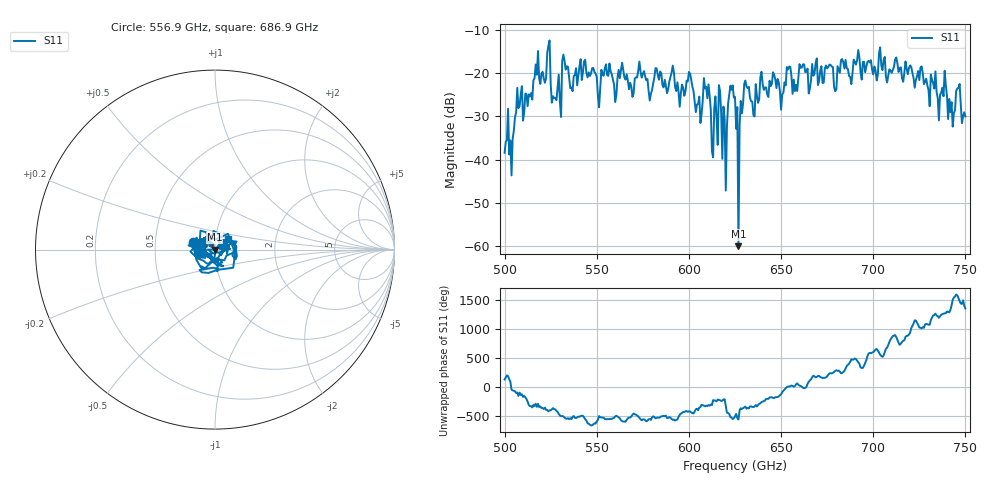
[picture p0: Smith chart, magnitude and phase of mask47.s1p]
!Created with skrf (http://scikit-rf.org).
# GHz S MA R 50.0
!freq magS11 angS11
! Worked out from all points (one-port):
!   401 points, 500 GHz to 750 GHz, reference 50 ohm
!   lowest |S11| = -60.1 dB at 626.9 GHz (marker M1), VSWR 1.00, Z = 49.9 + j0.0436 ohm
!   |S11| at or under -10 dB: start of sweep to end of sweep
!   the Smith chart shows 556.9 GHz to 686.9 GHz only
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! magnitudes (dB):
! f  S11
! 500 GHz  -38.4
! 503.8 GHz  -43.7
! 516.9 GHz  -17.9
! 523.8 GHz  -13.6
! 526.9 GHz  -25.7
! 531.2 GHz  -17.2
! 562.5 GHz  -21.1
! 593.8 GHz  -22.1
! 600 GHz  -19.7
! 605.6 GHz  -25.4
! 609.4 GHz  -23.1
! 612.5 GHz  -38.1
! 617.5 GHz  -29.2
! 619.4 GHz  -30.6
! 622.5 GHz  -22.9
! 625 GHz  -25.5
! 625.6 GHz  -32.9
! 626.9 GHz  -60.1
! 631.2 GHz  -23.1
! 634.4 GHz  -26.6
! 640 GHz  -22.5
! 656.2 GHz  -24.8
! 687.5 GHz  -20.8
! 718.8 GHz  -20.2
! 738.8 GHz  -19.4
! 741.9 GHz  -29.0
! 746.2 GHz  -23.3
! 750 GHz  -30.0
